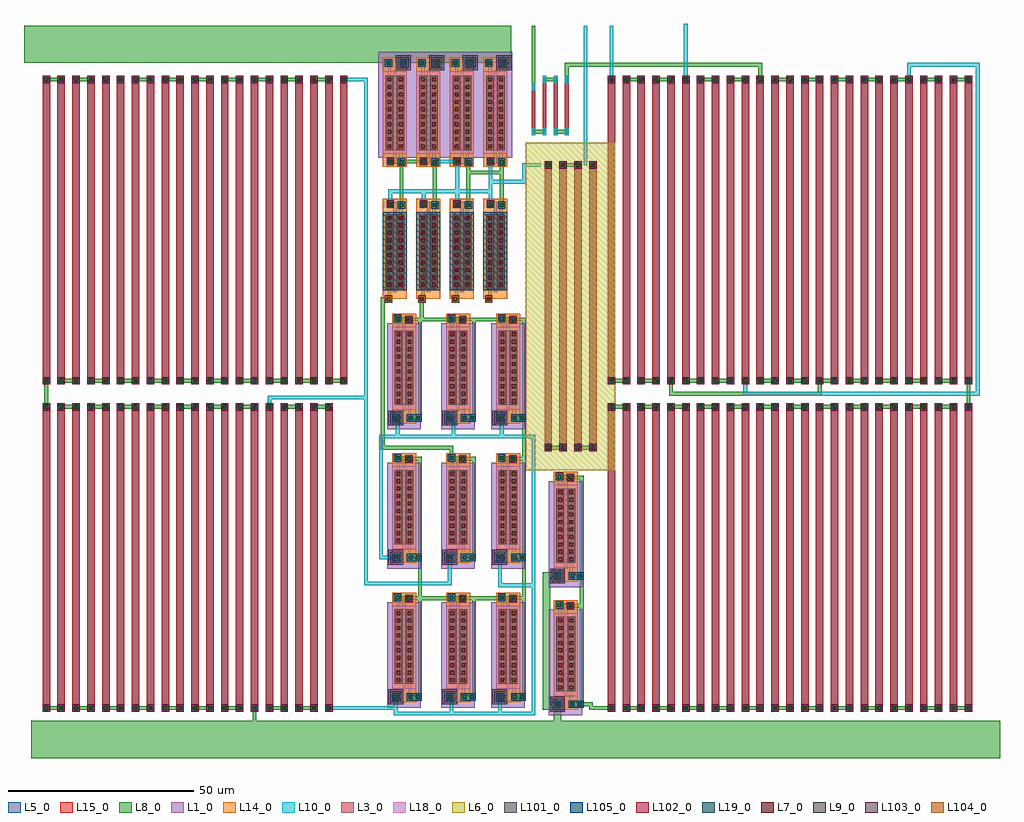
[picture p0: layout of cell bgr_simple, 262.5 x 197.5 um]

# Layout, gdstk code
from math import pi, radians
import gdstk
lib = gdstk.Library(unit=1e-6, precision=1e-09)
def R(c, l, rs):  # rectangles x0, y0, x1, y1
    for r in rs: c.add(gdstk.rectangle(r[:2], r[2:], *l))
def A(c, l, x, y, w, h, nx, ny, dx, dy):  # array of equal rectangles
    R(c, l, [(x+i*dx, y+j*dy, x+i*dx+w, y+j*dy+h) for i in range(nx) for j in range(ny)])
L1_0 = (1, 0)
L3_0 = (3, 0)
L5_0 = (5, 0)
L6_0 = (6, 0)
L7_0 = (7, 0)
L8_0 = (8, 0)
L9_0 = (9, 0)
L10_0 = (10, 0)
L14_0 = (14, 0)
L15_0 = (15, 0)
L18_0 = (18, 0)
L19_0 = (19, 0)
L101_0 = (101, 0)
L102_0 = (102, 0)
L103_0 = (103, 0)
L104_0 = (104, 0)
L105_0 = (105, 0)

dcont_1 = lib.new_cell('dcont$1')
R(dcont_1, L3_0, [(-0.5,-0.5,0.5,0.5)])
R(dcont_1, L7_0, [(-0.5,-0.5,0.5,0.5)])
R(dcont_1, L8_0, [(-1,-1,1,1)])
R(dcont_1, L101_0, [(-1,-1,1,1)])
dcont_1.add(gdstk.Label('dcont', (0,0), layer=13, texttype=0))

via_1 = lib.new_cell('Via$1')
R(via_1, L8_0, [(-1,-1,1,1)])
R(via_1, L9_0, [(-0.5,-0.5,0.5,0.5)])
R(via_1, L10_0, [(-1,-1,1,1)])
R(via_1, L105_0, [(-1,-1,1,1)])
via_1.add(gdstk.Label('via', (0,0), layer=13, texttype=0))

nsubcont = lib.new_cell('nsubcont')
R(nsubcont, L1_0, [(-2,-2,2,2)])
R(nsubcont, L19_0, [(-1.5,-1.5,1.5,1.5)])
R(nsubcont, L103_0, [(-2,-2,2,2)])
nsubcont.add(gdstk.Reference(dcont_1, (0,0)))
nsubcont.add(gdstk.Label('NScont', (0,0), layer=13, texttype=0))

pcont_1 = lib.new_cell('pcont$1')
R(pcont_1, L5_0, [(-1,-1,1,1)])
R(pcont_1, L7_0, [(-0.5,-0.5,0.5,0.5)])
R(pcont_1, L8_0, [(-1,-1,1,1)])
R(pcont_1, L102_0, [(-1,-1,1,1)])
pcont_1.add(gdstk.Label('pcont', (0,0), layer=13, texttype=0))

pch1x20 = lib.new_cell('pch1x20')
R(pch1x20, L1_0, [(-1.2,3,7.8,31.5)])
R(pch1x20, L3_0, [(0.8,5,5.8,25)])
R(pch1x20, L5_0, [(1.3,1.3,3.8,2.7)])
R(pch1x20, L8_0, [(4,0.8,6,2.8), (1,1,3,3)])
R(pch1x20, L10_0, [(4,0.8,6,2.8), (1,1,3,3)])
R(pch1x20, L14_0, [(0,0.5,6.5,30)])
R(pch1x20, L18_0, [(0,4,6.5,26.3)])
R(pch1x20, L105_0, [(4,0.8,6,2.8), (1,1,3,3)])
pch1x20.add(gdstk.FlexPath([(1.8,29),(1.8,23.8)], 1, ends="extended", simple_path=True, layer=8, datatype=0))  # L8_0
pch1x20.add(gdstk.FlexPath([(1.8,5.8),(1.8,24)], 1.4, ends="extended", simple_path=True, layer=8, datatype=0))  # L8_0
pch1x20.add(gdstk.FlexPath([(4.8,5.8),(4.8,24)], 1.4, ends="extended", simple_path=True, layer=8, datatype=0))  # L8_0
pch1x20.add(gdstk.FlexPath([(4.8,5.5),(4.8,2.3)], 1, ends="extended", simple_path=True, layer=8, datatype=0))  # L8_0
pch1x20.add(gdstk.FlexPath([(3.3,26),(3.3,2.8)], 1, ends="extended", simple_path=True, layer=5, datatype=0))  # L5_0
pch1x20.add(gdstk.Reference(dcont_1, (1.8,6)))
pch1x20.add(gdstk.Reference(dcont_1, (1.8,8)))
pch1x20.add(gdstk.Reference(dcont_1, (4.8,12)))
pch1x20.add(gdstk.Reference(dcont_1, (4.8,10)))
pch1x20.add(gdstk.Reference(dcont_1, (1.8,14)))
pch1x20.add(gdstk.Reference(dcont_1, (1.8,16)))
pch1x20.add(gdstk.Reference(dcont_1, (4.8,20)))
pch1x20.add(gdstk.Reference(dcont_1, (4.8,18)))
pch1x20.add(gdstk.Reference(via_1, (1.5,28.5)))
pch1x20.add(gdstk.Reference(dcont_1, (4.8,22)))
pch1x20.add(gdstk.Reference(via_1, (5,1.8)))
pch1x20.add(gdstk.Reference(dcont_1, (1.8,24)))
pch1x20.add(gdstk.Reference(dcont_1, (4.8,24)))
pch1x20.add(gdstk.Reference(dcont_1, (1.8,22)))
pch1x20.add(gdstk.Reference(via_1, (2,2)))
pch1x20.add(gdstk.Reference(nsubcont, (5.5,28.5)))
pch1x20.add(gdstk.Reference(pcont_1, (2,2)))
pch1x20.add(gdstk.Reference(dcont_1, (1.8,20)))
pch1x20.add(gdstk.Reference(dcont_1, (1.8,18)))
pch1x20.add(gdstk.Reference(dcont_1, (4.8,14)))
pch1x20.add(gdstk.Reference(dcont_1, (4.8,16)))
pch1x20.add(gdstk.Reference(dcont_1, (1.8,12)))
pch1x20.add(gdstk.Reference(dcont_1, (1.8,10)))
pch1x20.add(gdstk.Reference(dcont_1, (4.8,6)))
pch1x20.add(gdstk.Reference(dcont_1, (4.8,8)))
pch1x20.add(gdstk.Reference(via_1, (5.5,28.5)))
pch1x20.add(gdstk.Label('A', (8.5,7.4), layer=13, texttype=0))
pch1x20.add(gdstk.Label('VDD', (0.3,27.5), layer=13, texttype=0))
pch1x20.add(gdstk.Label('YB', (4.4,11.7), layer=13, texttype=0))
pch1x20.add(gdstk.Label('via', (5,1.8), layer=13, texttype=0))
pch1x20.add(gdstk.Label('via', (2,2), layer=13, texttype=0))

dcont = lib.new_cell('dcont')
R(dcont, L3_0, [(-0.5,-0.5,0.5,0.5)])
R(dcont, L7_0, [(-0.5,-0.5,0.5,0.5)])
R(dcont, L8_0, [(-1,-1,1,1)])
R(dcont, L101_0, [(-1,-1,1,1)])
dcont.add(gdstk.Label('dcont', (0,0), layer=13, texttype=0))

via = lib.new_cell('Via')
R(via, L8_0, [(-1,-1,1,1)])
R(via, L9_0, [(-0.5,-0.5,0.5,0.5)])
R(via, L10_0, [(-1,-1,1,1)])
R(via, L105_0, [(-1,-1,1,1)])
via.add(gdstk.Label('via', (0,0), layer=13, texttype=0))

pcont = lib.new_cell('pcont')
R(pcont, L5_0, [(-1,-1,1,1)])
R(pcont, L7_0, [(-0.5,-0.5,0.5,0.5)])
R(pcont, L8_0, [(-1,-1,1,1)])
R(pcont, L102_0, [(-1,-1,1,1)])
pcont.add(gdstk.Label('pcont', (0,0), layer=13, texttype=0))

psubcont = lib.new_cell('psubcont')
R(psubcont, L104_0, [(-1,-1,1,1)])
psubcont.add(gdstk.Reference(dcont, (0,0)))
psubcont.add(gdstk.Label('PScon', (0,0), layer=13, texttype=0))

nch1x20 = lib.new_cell('nch1x20')
R(nch1x20, L3_0, [(0.8,2.8,5.8,22.8)])
R(nch1x20, L5_0, [(1.3,24.8,3.8,26.2)])
R(nch1x20, L8_0, [(4,24.3,6,26.3), (1,24.5,3,26.5)])
R(nch1x20, L10_0, [(4,24.3,6,26.3), (1,24.5,3,26.5)])
R(nch1x20, L14_0, [(0,0,6.5,27)])
R(nch1x20, L19_0, [(0,2.3,6.5,23.3)])
R(nch1x20, L105_0, [(4,24.3,6,26.3), (1,24.5,3,26.5)])
nch1x20.add(gdstk.FlexPath([(1.8,0.5),(1.8,22.3)], 1, ends="extended", simple_path=True, layer=8, datatype=0))  # L8_0
nch1x20.add(gdstk.FlexPath([(4.8,25),(4.8,3.3)], 1, ends="extended", simple_path=True, layer=8, datatype=0))  # L8_0
nch1x20.add(gdstk.FlexPath([(3.3,25),(3.3,2.3)], 1, ends="extended", simple_path=True, layer=5, datatype=0))  # L5_0
nch1x20.add(gdstk.Reference(dcont, (4.8,21.8)))
nch1x20.add(gdstk.Reference(dcont, (1.8,19.8)))
nch1x20.add(gdstk.Reference(dcont, (4.8,17.8)))
nch1x20.add(gdstk.Reference(dcont, (1.8,15.8)))
nch1x20.add(gdstk.Reference(dcont, (4.8,13.8)))
nch1x20.add(gdstk.Reference(dcont, (1.8,11.8)))
nch1x20.add(gdstk.Reference(dcont, (4.8,9.8)))
nch1x20.add(gdstk.Reference(dcont, (1.8,7.8)))
nch1x20.add(gdstk.Reference(dcont, (4.8,5.8)))
nch1x20.add(gdstk.Reference(via, (5,25.3)))
nch1x20.add(gdstk.Reference(pcont, (2,25.5)))
nch1x20.add(gdstk.Reference(via, (2,25.5)))
nch1x20.add(gdstk.Reference(dcont, (4.8,3.8)))
nch1x20.add(gdstk.Reference(dcont, (1.8,3.8)))
nch1x20.add(gdstk.Reference(psubcont, (1.5,0)))
nch1x20.add(gdstk.Reference(dcont, (1.8,5.8)))
nch1x20.add(gdstk.Reference(dcont, (4.8,7.8)))
nch1x20.add(gdstk.Reference(dcont, (1.8,9.8)))
nch1x20.add(gdstk.Reference(dcont, (4.8,11.8)))
nch1x20.add(gdstk.Reference(dcont, (1.8,13.8)))
nch1x20.add(gdstk.Reference(dcont, (4.8,15.8)))
nch1x20.add(gdstk.Reference(dcont, (1.8,17.8)))
nch1x20.add(gdstk.Reference(dcont, (4.8,19.8)))
nch1x20.add(gdstk.Reference(dcont, (1.8,21.8)))
nch1x20.add(gdstk.Label('via', (5,25.3), layer=13, texttype=0))
nch1x20.add(gdstk.Label('A', (2,26.4), layer=13, texttype=0))
nch1x20.add(gdstk.Label('VSS', (0.3,0.5), layer=13, texttype=0))
nch1x20.add(gdstk.Label('via', (2,25.5), layer=13, texttype=0))

pchdiode = lib.new_cell('pchdiode')
pchdiode.add(gdstk.FlexPath([(2,30),(1,30),(1,3),(7.5,3)], 1, ends="extended", simple_path=True, layer=8, datatype=0))  # L8_0
pchdiode.add(gdstk.Reference(via_1, (1.5,29.5)))
pchdiode.add(gdstk.Reference(pch1x20, (2,1)))

diodeblock = lib.new_cell('diodeblock')
diodeblock.add(gdstk.FlexPath([(26.5,7.5),(26.5,-4),(26.5,-4)], 1, ends="flush", simple_path=True, layer=8, datatype=0))  # L8_0
diodeblock.add(gdstk.FlexPath([(32.5,7),(-1.5,7),(-1.5,-68),(32,-68)], 1, ends="flush", simple_path=True, layer=8, datatype=0))  # L8_0
diodeblock.add(gdstk.FlexPath([(33,38),(-4,38),(-4,3.5),(5.5,3.5)], 1, ends="flush", simple_path=True, layer=10, datatype=0))  # L10_0
diodeblock.add(gdstk.FlexPath([(-4,4),(-4,-36.5),(32,-36.5)], 1, ends="flush", simple_path=True, layer=10, datatype=0))  # L10_0
diodeblock.add(gdstk.FlexPath([(5,3.5),(5,-4)], 1, ends="flush", simple_path=True, layer=10, datatype=0))  # L10_0
diodeblock.add(gdstk.FlexPath([(32.5,-36.5),(37,-36.5),(37,-4),(33.5,-4)], 1, ends="flush", simple_path=True, layer=10, datatype=0))  # L10_0
diodeblock.add(gdstk.FlexPath([(4.5,-41.5),(4.5,-36.5),(17.5,-36.5),(17.5,-41.5)], 1, ends="flush", simple_path=True, layer=10, datatype=0))  # L10_0
diodeblock.add(gdstk.FlexPath([(17.5,-36.5),(32.5,-36.5),(32.5,-41.5)], 1, ends="flush", simple_path=True, layer=10, datatype=0))  # L10_0
diodeblock.add(gdstk.FlexPath([(5,33.5),(5,38),(18,38),(18,33.5)], 1, ends="flush", simple_path=True, layer=10, datatype=0))  # L10_0
diodeblock.add(gdstk.FlexPath([(18,38),(33,38),(33,33.5)], 1, ends="flush", simple_path=True, layer=10, datatype=0))  # L10_0
diodeblock.add(gdstk.Reference(pchdiode, (-2.5,4)))
diodeblock.add(gdstk.Reference(pchdiode, (11,4)))
diodeblock.add(gdstk.Reference(pchdiode, (25.5,4)))
diodeblock.add(gdstk.Reference(pchdiode, (-2.5,-33.5)))
diodeblock.add(gdstk.Reference(pchdiode, (11,-33.5)))
diodeblock.add(gdstk.Reference(pchdiode, (25.5,-33.5)))
diodeblock.add(gdstk.Reference(pchdiode, (-2.5,-71)))
diodeblock.add(gdstk.Reference(pchdiode, (11,-71)))
diodeblock.add(gdstk.Reference(pchdiode, (25.5,-71)))

via_4 = lib.new_cell('Via$4')
R(via_4, L8_0, [(-1,-1,1,1)])
R(via_4, L9_0, [(-0.5,-0.5,0.5,0.5)])
R(via_4, L10_0, [(-1,-1,1,1)])
R(via_4, L105_0, [(-1,-1,1,1)])
via_4.add(gdstk.Label('via', (0,0), layer=13, texttype=0))

pcont_4 = lib.new_cell('pcont$4')
R(pcont_4, L5_0, [(-1,-1,1,1)])
R(pcont_4, L7_0, [(-0.5,-0.5,0.5,0.5)])
R(pcont_4, L8_0, [(-1,-1,1,1)])
R(pcont_4, L102_0, [(-1,-1,1,1)])
pcont_4.add(gdstk.Label('pcont', (0,0), layer=13, texttype=0))

r_poly_5 = lib.new_cell('R_poly$5')
A(r_poly_5, L8_0, 0, 0, 2, 2, 5, 2, 4, 81)
A(r_poly_5, L10_0, 0, 0, 2, 2, 5, 2, 4, 81)
r_poly_5.add(gdstk.FlexPath([(5,82),(1,82)], 1, ends="extended", simple_path=True, layer=8, datatype=0))  # L8_0
r_poly_5.add(gdstk.FlexPath([(9,1),(5,1)], 1, ends="extended", simple_path=True, layer=8, datatype=0))  # L8_0
r_poly_5.add(gdstk.FlexPath([(13,82),(9,82)], 1, ends="extended", simple_path=True, layer=8, datatype=0))  # L8_0
r_poly_5.add(gdstk.FlexPath([(17,1),(13,1)], 1, ends="extended", simple_path=True, layer=8, datatype=0))  # L8_0
r_poly_5.add(gdstk.FlexPath([(1,2),(1,81)], 2, ends=(2, 2), simple_path=True, layer=5, datatype=0))  # L5_0
r_poly_5.add(gdstk.FlexPath([(5,2),(5,81)], 2, ends=(2, 2), simple_path=True, layer=5, datatype=0))  # L5_0
r_poly_5.add(gdstk.FlexPath([(9,2),(9,81)], 2, ends=(2, 2), simple_path=True, layer=5, datatype=0))  # L5_0
r_poly_5.add(gdstk.FlexPath([(13,2),(13,81)], 2, ends=(2, 2), simple_path=True, layer=5, datatype=0))  # L5_0
r_poly_5.add(gdstk.FlexPath([(17,2),(17,81)], 2, ends=(2, 2), simple_path=True, layer=5, datatype=0))  # L5_0
r_poly_5.add(gdstk.FlexPath([(1,2),(1,81)], 2, ends=(0.5, 0.5), simple_path=True, layer=15, datatype=0))  # L15_0
r_poly_5.add(gdstk.FlexPath([(5,2),(5,81)], 2, ends=(0.5, 0.5), simple_path=True, layer=15, datatype=0))  # L15_0
r_poly_5.add(gdstk.FlexPath([(9,2),(9,81)], 2, ends=(0.5, 0.5), simple_path=True, layer=15, datatype=0))  # L15_0
r_poly_5.add(gdstk.FlexPath([(13,2),(13,81)], 2, ends=(0.5, 0.5), simple_path=True, layer=15, datatype=0))  # L15_0
r_poly_5.add(gdstk.FlexPath([(17,2),(17,81)], 2, ends=(0.5, 0.5), simple_path=True, layer=15, datatype=0))  # L15_0
r_poly_5.add(gdstk.Reference(via_4, (1,1)))
r_poly_5.add(gdstk.Reference(pcont_4, (1,1)))
r_poly_5.add(gdstk.Reference(via_4, (1,82)))
r_poly_5.add(gdstk.Reference(pcont_4, (1,82)))
r_poly_5.add(gdstk.Reference(via_4, (5,1)))
r_poly_5.add(gdstk.Reference(pcont_4, (5,1)))
r_poly_5.add(gdstk.Reference(via_4, (5,82)))
r_poly_5.add(gdstk.Reference(pcont_4, (5,82)))
r_poly_5.add(gdstk.Reference(via_4, (9,1)))
r_poly_5.add(gdstk.Reference(pcont_4, (9,1)))
r_poly_5.add(gdstk.Reference(via_4, (9,82)))
r_poly_5.add(gdstk.Reference(pcont_4, (9,82)))
r_poly_5.add(gdstk.Reference(via_4, (13,1)))
r_poly_5.add(gdstk.Reference(pcont_4, (13,1)))
r_poly_5.add(gdstk.Reference(via_4, (13,82)))
r_poly_5.add(gdstk.Reference(pcont_4, (13,82)))
r_poly_5.add(gdstk.Reference(via_4, (17,1)))
r_poly_5.add(gdstk.Reference(pcont_4, (17,1)))
r_poly_5.add(gdstk.Reference(via_4, (17,82)))
r_poly_5.add(gdstk.Reference(pcont_4, (17,82)))

r_poly = lib.new_cell('R_poly')
R(r_poly, L8_0, [(0,0,2,2), (0,81,2,83)])
R(r_poly, L10_0, [(0,0,2,2), (0,81,2,83)])
r_poly.add(gdstk.FlexPath([(1,2),(1,81)], 2, ends=(2, 2), simple_path=True, layer=5, datatype=0))  # L5_0
r_poly.add(gdstk.FlexPath([(1,2),(1,81)], 2, ends=(0.5, 0.5), simple_path=True, layer=15, datatype=0))  # L15_0
r_poly.add(gdstk.Reference(via_4, (1,1)))
r_poly.add(gdstk.Reference(pcont_4, (1,1)))
r_poly.add(gdstk.Reference(via_4, (1,82)))
r_poly.add(gdstk.Reference(pcont_4, (1,82)))

hr_poly = lib.new_cell('HR_poly')
R(hr_poly, L6_0, [(-5,-5,19,83)])
A(hr_poly, L8_0, 0, 0, 2, 2, 4, 2, 4, 76)
A(hr_poly, L10_0, 0, 0, 2, 2, 4, 2, 4, 76)
hr_poly.add(gdstk.FlexPath([(5,77),(1,77)], 1, ends="extended", simple_path=True, layer=8, datatype=0))  # L8_0
hr_poly.add(gdstk.FlexPath([(9,1),(5,1)], 1, ends="extended", simple_path=True, layer=8, datatype=0))  # L8_0
hr_poly.add(gdstk.FlexPath([(13,77),(9,77)], 1, ends="extended", simple_path=True, layer=8, datatype=0))  # L8_0
hr_poly.add(gdstk.FlexPath([(1,2),(1,76)], 2, ends=(2, 2), simple_path=True, layer=5, datatype=0))  # L5_0
hr_poly.add(gdstk.FlexPath([(5,2),(5,76)], 2, ends=(2, 2), simple_path=True, layer=5, datatype=0))  # L5_0
hr_poly.add(gdstk.FlexPath([(9,2),(9,76)], 2, ends=(2, 2), simple_path=True, layer=5, datatype=0))  # L5_0
hr_poly.add(gdstk.FlexPath([(13,2),(13,76)], 2, ends=(2, 2), simple_path=True, layer=5, datatype=0))  # L5_0
hr_poly.add(gdstk.FlexPath([(1,2),(1,76)], 2, ends=(0.5, 0.5), simple_path=True, layer=15, datatype=0))  # L15_0
hr_poly.add(gdstk.FlexPath([(5,2),(5,76)], 2, ends=(0.5, 0.5), simple_path=True, layer=15, datatype=0))  # L15_0
hr_poly.add(gdstk.FlexPath([(9,2),(9,76)], 2, ends=(0.5, 0.5), simple_path=True, layer=15, datatype=0))  # L15_0
hr_poly.add(gdstk.FlexPath([(13,2),(13,76)], 2, ends=(0.5, 0.5), simple_path=True, layer=15, datatype=0))  # L15_0
hr_poly.add(gdstk.Reference(via_4, (1,1)))
hr_poly.add(gdstk.Reference(pcont_4, (1,1)))
hr_poly.add(gdstk.Reference(via_4, (1,77)))
hr_poly.add(gdstk.Reference(pcont_4, (1,77)))
hr_poly.add(gdstk.Reference(via_4, (5,1)))
hr_poly.add(gdstk.Reference(pcont_4, (5,1)))
hr_poly.add(gdstk.Reference(via_4, (5,77)))
hr_poly.add(gdstk.Reference(pcont_4, (5,77)))
hr_poly.add(gdstk.Reference(via_4, (9,1)))
hr_poly.add(gdstk.Reference(pcont_4, (9,1)))
hr_poly.add(gdstk.Reference(via_4, (9,77)))
hr_poly.add(gdstk.Reference(pcont_4, (9,77)))
hr_poly.add(gdstk.Reference(via_4, (13,1)))
hr_poly.add(gdstk.Reference(pcont_4, (13,1)))
hr_poly.add(gdstk.Reference(via_4, (13,77)))
hr_poly.add(gdstk.Reference(pcont_4, (13,77)))

r_poly_2 = lib.new_cell('R_poly$2')
A(r_poly_2, L8_0, 0.5, 0, 1, 2, 3, 1, 3, 0)
A(r_poly_2, L8_0, 0.5, 14, 1, 2, 4, 1, 3, 0)
R(r_poly_2, L8_0, [(9.5,2,10.5,4)])
A(r_poly_2, L10_0, 0.5, 0, 1, 2, 3, 1, 3, 0)
A(r_poly_2, L10_0, 0.5, 14, 1, 2, 4, 1, 3, 0)
R(r_poly_2, L10_0, [(9.5,2,10.5,4)])
r_poly_2.add(gdstk.FlexPath([(4,15),(1,15)], 1, ends="extended", simple_path=True, layer=8, datatype=0))  # L8_0
r_poly_2.add(gdstk.FlexPath([(7,1),(4,1)], 1, ends="extended", simple_path=True, layer=8, datatype=0))  # L8_0
r_poly_2.add(gdstk.FlexPath([(10,15),(7,15)], 1, ends="extended", simple_path=True, layer=8, datatype=0))  # L8_0
r_poly_2.add(gdstk.FlexPath([(1,2),(1,14)], 1, ends=(2, 2), simple_path=True, layer=5, datatype=0))  # L5_0
r_poly_2.add(gdstk.FlexPath([(4,2),(4,14)], 1, ends=(2, 2), simple_path=True, layer=5, datatype=0))  # L5_0
r_poly_2.add(gdstk.FlexPath([(7,2),(7,14)], 1, ends=(2, 2), simple_path=True, layer=5, datatype=0))  # L5_0
r_poly_2.add(gdstk.FlexPath([(10,4),(10,14)], 1, ends=(2, 2), simple_path=True, layer=5, datatype=0))  # L5_0
r_poly_2.add(gdstk.FlexPath([(1,2),(1,14)], 1, ends="extended", simple_path=True, layer=15, datatype=0))  # L15_0
r_poly_2.add(gdstk.FlexPath([(4,2),(4,14)], 1, ends="extended", simple_path=True, layer=15, datatype=0))  # L15_0
r_poly_2.add(gdstk.FlexPath([(7,2),(7,14)], 1, ends="extended", simple_path=True, layer=15, datatype=0))  # L15_0
r_poly_2.add(gdstk.FlexPath([(10,4),(10,14)], 1, ends="extended", simple_path=True, layer=15, datatype=0))  # L15_0

bgr_simple = lib.new_cell('bgr_simple')
bgr_simple.add(gdstk.FlexPath([(-91.5,-196.5),(169,-196.5)], 10, ends="flush", simple_path=True, layer=8, datatype=0))  # L8_0
bgr_simple.add(gdstk.FlexPath([(56,-187),(59,-187),(59,-188),(64.5,-188)], 1, ends="flush", simple_path=True, layer=8, datatype=0))  # L8_0
bgr_simple.add(gdstk.FlexPath([(80.5,-107),(85,-107)], 1, ends="flush", simple_path=True, layer=8, datatype=0))  # L8_0
bgr_simple.add(gdstk.FlexPath([(100.5,-188),(104.5,-188)], 1, ends="flush", simple_path=True, layer=8, datatype=0))  # L8_0
bgr_simple.add(gdstk.FlexPath([(120.5,-107),(124.5,-107)], 1, ends="flush", simple_path=True, layer=8, datatype=0))  # L8_0
bgr_simple.add(gdstk.FlexPath([(140.5,-188),(144.5,-188)], 1, ends="flush", simple_path=True, layer=8, datatype=0))  # L8_0
bgr_simple.add(gdstk.FlexPath([(160.5,-100),(160.5,-107)], 1, ends="flush", simple_path=True, layer=8, datatype=0))  # L8_0
bgr_simple.add(gdstk.FlexPath([(124.5,-100),(120.5,-100)], 1, ends="flush", simple_path=True, layer=8, datatype=0))  # L8_0
bgr_simple.add(gdstk.FlexPath([(104.5,-19),(104.5,-15),(52.5,-15),(52.5,-19)], 1, ends="flush", simple_path=True, layer=8, datatype=0))  # L8_0
bgr_simple.add(gdstk.FlexPath([(120.5,-100),(120.5,-103.5),(80.5,-103.5),(80.5,-100)], 1, ends="flush", simple_path=True, layer=8, datatype=0))  # L8_0
bgr_simple.add(gdstk.FlexPath([(145,-19),(140,-19)], 1, ends="flush", simple_path=True, layer=8, datatype=0))  # L8_0
bgr_simple.add(gdstk.FlexPath([(8,-41),(8,-52.5),(8,-52.5)], 1, ends="flush", simple_path=True, layer=8, datatype=0))  # L8_0
bgr_simple.add(gdstk.FlexPath([(17,-41),(17,-52.5),(17,-52.5)], 1, ends="flush", simple_path=True, layer=8, datatype=0))  # L8_0
bgr_simple.add(gdstk.FlexPath([(26,-44.5),(26,-52.5),(26,-52.5)], 1, ends="flush", simple_path=True, layer=8, datatype=0))  # L8_0
bgr_simple.add(gdstk.FlexPath([(35,-44.5),(35,-52.5),(35,-52.5)], 1, ends="flush", simple_path=True, layer=8, datatype=0))  # L8_0
bgr_simple.add(gdstk.FlexPath([(5,-41),(14,-41)], 1, ends="flush", simple_path=True, layer=8, datatype=0))  # L8_0
bgr_simple.add(gdstk.FlexPath([(26,-41),(26,-44),(35,-44),(35,-41),(35,-41)], 1, ends="flush", simple_path=True, layer=8, datatype=0))  # L8_0
bgr_simple.add(gdstk.FlexPath([(-93.5,-9.5),(37.5,-9.5),(37.5,-9.5)], 10, ends="flush", simple_path=True, layer=8, datatype=0))  # L8_0
bgr_simple.add(gdstk.FlexPath([(4.5,-78),(3,-78),(3,-118),(21.5,-118),(21.5,-121),(21.5,-121)], 1, ends="flush", simple_path=True, layer=8, datatype=0))  # L8_0
bgr_simple.add(gdstk.FlexPath([(13.5,-78),(13.5,-83.5),(13.5,-83.5)], 1, ends="flush", simple_path=True, layer=8, datatype=0))  # L8_0
bgr_simple.add(gdstk.FlexPath([(49.5,-152.5),(47,-152.5),(47,-187.5),(50,-187.5),(50,-192.5),(50,-192.5)], 2, ends="flush", simple_path=True, layer=8, datatype=0))  # L8_0
bgr_simple.add(gdstk.FlexPath([(56.5,-152.5),(56.5,-160.5),(56.5,-160.5)], 1, ends="flush", simple_path=True, layer=8, datatype=0))  # L8_0
bgr_simple.add(gdstk.FlexPath([(43.5,-21),(43.5,-4.5),(43.5,-4.5)], 1, ends="flush", simple_path=True, layer=8, datatype=0))  # L8_0
bgr_simple.add(gdstk.FlexPath([(-7.5,-100),(-11.5,-100),(-11.5,-100)], 1, ends="flush", simple_path=True, layer=8, datatype=0))  # L8_0
bgr_simple.add(gdstk.FlexPath([(-27.5,-19),(-31.5,-19),(-31.5,-19)], 1, ends="flush", simple_path=True, layer=8, datatype=0))  # L8_0
bgr_simple.add(gdstk.FlexPath([(-47.5,-100),(-51.5,-100)], 1, ends="flush", simple_path=True, layer=8, datatype=0))  # L8_0
bgr_simple.add(gdstk.FlexPath([(-87.5,-100),(-87.5,-107)], 1, ends="flush", simple_path=True, layer=8, datatype=0))  # L8_0
bgr_simple.add(gdstk.FlexPath([(-71.5,-188),(-67,-188)], 1, ends="flush", simple_path=True, layer=8, datatype=0))  # L8_0
bgr_simple.add(gdstk.FlexPath([(-51.5,-107),(-47,-107)], 1, ends="flush", simple_path=True, layer=8, datatype=0))  # L8_0
bgr_simple.add(gdstk.FlexPath([(-31.5,-188),(-31.5,-193)], 1, ends="flush", simple_path=True, layer=8, datatype=0))  # L8_0
bgr_simple.add(gdstk.FlexPath([(64.5,-19),(64.5,-4.5)], 1, ends="flush", simple_path=True, layer=10, datatype=0))  # L10_0
bgr_simple.add(gdstk.FlexPath([(84.5,-19),(84.5,-4.5),(84,-4.5)], 1, ends="flush", simple_path=True, layer=10, datatype=0))  # L10_0
bgr_simple.add(gdstk.FlexPath([(100.5,-100),(100.5,-103.5),(163,-103.5),(163,-15),(144.5,-15),(144.5,-19)], 1, ends="flush", simple_path=True, layer=10, datatype=0))  # L10_0
bgr_simple.add(gdstk.FlexPath([(5,-52.5),(5,-49),(14,-49),(14,-52.5)], 1, ends="flush", simple_path=True, layer=10, datatype=0))  # L10_0
bgr_simple.add(gdstk.FlexPath([(14,-49),(23,-49),(23,-52.5)], 1, ends="flush", simple_path=True, layer=10, datatype=0))  # L10_0
bgr_simple.add(gdstk.FlexPath([(23,-49),(32,-49),(32,-52.5),(32,-52.5)], 1, ends="flush", simple_path=True, layer=10, datatype=0))  # L10_0
bgr_simple.add(gdstk.FlexPath([(23,-41),(23,-49),(32,-49),(32,-41)], 1, ends="flush", simple_path=True, layer=10, datatype=0))  # L10_0
bgr_simple.add(gdstk.FlexPath([(17,-41),(23,-41)], 1, ends="flush", simple_path=True, layer=10, datatype=0))  # L10_0
bgr_simple.add(gdstk.FlexPath([(32,-46.5),(41,-46.5),(41,-42),(45.5,-42)], 1, ends="flush", simple_path=True, layer=10, datatype=0))  # L10_0
bgr_simple.add(gdstk.FlexPath([(57.5,-42),(57.5,-4.5)], 1, ends="flush", simple_path=True, layer=10, datatype=0))  # L10_0
bgr_simple.add(gdstk.FlexPath([(21,-147.5),(21,-154.5),(-1.5,-154.5),(-1.5,-19),(-8,-19)], 1, ends="flush", simple_path=True, layer=10, datatype=0))  # L10_0
bgr_simple.add(gdstk.FlexPath([(-11.5,-188),(6.5,-188)], 1, ends="flush", simple_path=True, layer=10, datatype=0))  # L10_0
bgr_simple.add(gdstk.FlexPath([(-27.5,-106.5),(-27.5,-104.5),(-1.5,-104.5),(-1.5,-104.5)], 1, ends="flush", simple_path=True, layer=10, datatype=0))  # L10_0
bgr_simple.add(gdstk.Reference(pch1x20, (12,-43)))
bgr_simple.add(gdstk.Reference(pch1x20, (21,-43)))
bgr_simple.add(gdstk.Reference(pch1x20, (30,-43)))
bgr_simple.add(gdstk.Reference(pch1x20, (3,-43)))
bgr_simple.add(gdstk.Reference(nch1x20, (3,-78)))
bgr_simple.add(gdstk.Reference(nch1x20, (12,-78)))
bgr_simple.add(gdstk.Reference(nch1x20, (30,-78)))
bgr_simple.add(gdstk.Reference(diodeblock, (39.5,-151.5), rotation=pi))
bgr_simple.add(gdstk.Reference(r_poly_5, (101.5,-189), rotation=pi, x_reflection=True))
bgr_simple.add(gdstk.Reference(r_poly_5, (103.5,-189)))
bgr_simple.add(gdstk.Reference(r_poly_5, (141.5,-189), rotation=pi, x_reflection=True))
bgr_simple.add(gdstk.Reference(r_poly_5, (101.5,-101), rotation=pi, x_reflection=True))
bgr_simple.add(gdstk.Reference(r_poly_5, (121.5,-101), rotation=pi, x_reflection=True))
bgr_simple.add(gdstk.Reference(r_poly_5, (123.5,-101)))
bgr_simple.add(gdstk.Reference(r_poly_5, (161.5,-101), rotation=pi, x_reflection=True))
bgr_simple.add(gdstk.Reference(r_poly, (-8.5,-101)))
bgr_simple.add(gdstk.Reference(r_poly_5, (63.5,-189)))
bgr_simple.add(gdstk.Reference(r_poly_5, (81.5,-101), rotation=pi, x_reflection=True))
bgr_simple.add(gdstk.Reference(r_poly_5, (-68.5,-189)))
bgr_simple.add(gdstk.Reference(r_poly_5, (-30.5,-189), rotation=pi, x_reflection=True))
bgr_simple.add(gdstk.Reference(r_poly_5, (-10.5,-189), rotation=pi, x_reflection=True))
bgr_simple.add(gdstk.Reference(r_poly_5, (-30.5,-18), rotation=pi))
bgr_simple.add(gdstk.Reference(r_poly_5, (-68.5,-18), x_reflection=True))
bgr_simple.add(gdstk.Reference(r_poly_5, (-70.5,-18), rotation=pi))
bgr_simple.add(gdstk.Reference(pchdiode, (57.5,-157.5), rotation=pi))
bgr_simple.add(gdstk.Reference(pchdiode, (57.5,-123), rotation=pi))
bgr_simple.add(gdstk.Reference(r_poly_5, (143.5,-189)))
bgr_simple.add(gdstk.Reference(hr_poly, (60.5,-41), rotation=pi))
bgr_simple.add(gdstk.Reference(r_poly_5, (-70.5,-189), rotation=pi, x_reflection=True))
bgr_simple.add(gdstk.Reference(r_poly_5, (-28.5,-18), x_reflection=True))
bgr_simple.add(gdstk.Reference(nch1x20, (21,-78)))
bgr_simple.add(gdstk.Reference(r_poly_2, (53.5,-18), rotation=pi))

lib.write_gds('bgr_simple.gds')
